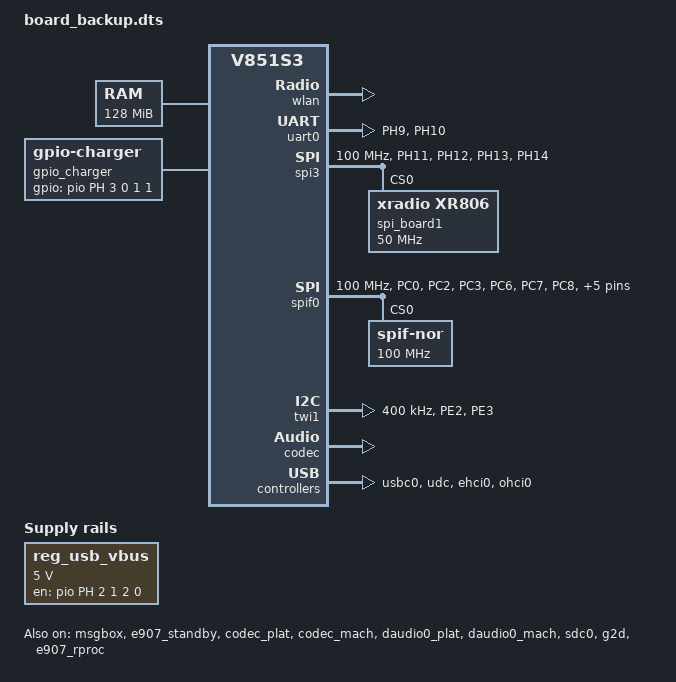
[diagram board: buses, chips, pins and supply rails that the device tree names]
/*
 * Allwinner Technology CO., Ltd. sun8iw21p1 soc board.
 *
 * soc board support.
 */

/dts-v1/;

#include "sun8iw21p1.dtsi"
#include <dt-bindings/sunxi/sun8iw21-share-irq.h>

/{
	compatible = "allwinner,sun8iw21p1", "arm,sun8iw21p1", "allwinner,v851s3";
	reg_usb_vbus: usb-vbus {
		compatible = "regulator-fixed";
		gpio = <&pio PH 2 1 2 0 1>;
		regulator-name = "usb-vbus";
		regulator-min-microvolt = <5000000>;
		regulator-max-microvolt = <5000000>;
		enable-active-high;
	};

	chosen {
		bootargs = "earlyprintk=sunxi-uart,0x02500000 clk_ignore_unused initcall_debug=0 console=ttyS0,115200 loglevel=1 lpj=240000 root=/dev/mtdblock4 rootwait init=/files/pseudo_init rdinit=/rdinit partitions=env@mtdblock1:env-redund@mtdblock2:boot@mtdblock3:rootfs@mtdblock4:extend@mtdblock5:rootfs_data@mtdblock6:UDISK@mtdblock7 coherent_pool=16K androidboot.hardware=sun8iw21p1 boot_type=3 androidboot.boot_type=3 gpt=1 mbr_offset=2080768 bootreason=unknow";

		/* for AI-ISP model */
		/* bootargs = "earlyprintk=sunxi-uart,0x02500000 clk_ignore_unused initcall_debug=0 console=ttyS0,115200 loglevel=1 lpj=240000 root=/dev/mtdblock4 rootwait init=/files/pseudo_init rdinit=/rdinit partitions=env@mtdblock1:env-redund@mtdblock2:boot@mtdblock3:rootfs@mtdblock4:extend@mtdblock5:rootfs_data@mtdblock6:aiisp_model@mtdblock7:aiisp_lut_model@mtdblock8:npu_pdet_model@mtdblock9:UDISK@mtdblock10 coherent_pool=16K androidboot.hardware=sun8iw21p1 boot_type=3 androidboot.boot_type=3 gpt=1 mbr_offset=2080768 bootreason=unknow"; */
	};

	aliases {
		/* pmu0 = &pmu0; */
		/* standby_param = &standby_param; */
	};

	reserved-memory {

		npu_reserved: npu_reserved {
			reg = <0x0 0x41100000 0x0 0x00800000>;
		};

		ai_reserved: ai_reserved {
			reg = <0x0 0x42000000 0x0 0x00850000>;
		};

		e907_fw: e907_fw {
			reg = <0x0 0x43080000 0x0 0x00180000>;
		};

		isp_reserved: isp_reserved {
			reg = <0x0 0x43200000 0x0 0x00a00000>;
		};

		e907_dram: riscv_memserve {
			reg = <0x0 0x43c00000 0x0 0x00400000>;
			no-map;
		};

		/*
		 * The name should be "vdev%dbuffer".
		 * Its size should be not less than
		 *     RPMSG_BUF_SIZE * (num of buffers in a vring) * 2
		 *   = 512 * (num of buffers in a vring) * 2
		 */
		vdev0buffer: vdev0buffer@0x43000000 {
			/* 256k reserved for shared mem pool */
			compatible = "shared-dma-pool";
			reg = <0x0 0x43000000 0x0 0x40000>;
			no-map;
		};

		/*
		 * The name should be "vdev%dvring%d".
		 * The size of each should be not less than
		 *     PAGE_ALIGN(vring_size(num, align))
		 *   = PAGE_ALIGN(PAGE_ALIGN(16 * num + 6 + 2 * num) + 6 + 8 * num)
		 * if size == 8K,  the size should be not large than 227
		 * if size == 12K, the size should be not large than 454
		 * if size == 16K, the size should be not large than 454
		 * if size == 20K, the size should be not large than 682
		 *
		 * (Please refer to the vring layout in include/uapi/linux/virtio_ring.h)
		 */
		vdev0vring0: vdev0vring0@0x43040000 {
			reg = <0x0 0x43040000 0x0 0x5000>;
			no-map;
		};

		vdev0vring1: vdev0vring1@0x43045000 {
			reg = <0x0 0x43045000 0x0 0x5000>;
			no-map;
		};

		rv_share_irq_table: share_irq_table@0 {
			reg = <0x0 0x4304A000 0x0 0x1000>;
			no-map;
		};

		/*
		 * if iommu is enabled in boot0, the pgtable memory need to be reserved
		 *
		 * l1 table 16K, need 16K align
		 * l2 table size = map size / 1K
		 * map 0x41000000 - 0x44000000 for e907
		 */
		iommu_l1_pagetable: iommu_l1_pagetable@0 {
			reg = <0x0 0x4304C000 0x0 0x10000>;
		};

		boot_param: boot_param@0x42FFF000 {
			reg = <0x0 0x42FFF000 0x0 0x1000>;
		};
	};

	reserved-irq {
		share-e907 {
			arch-name = "e907";
			memory-region = <&rv_share_irq_table>;
			/*
			 * each bit corresponds to a GPIO pin, and the corresponding bit=1
			 * indicates that the GPIO pin is assigned to the remote processor.
			 *
			 * WARNING: it is recommended to allocate in units of banks, not pins,
			 * sp as not to affect system stability.
			 */
			share-irq =  <SH_GPIOA_IRQ SH_GPIOA 0x00000000>,
						 <SH_GPIOC_IRQ SH_GPIOC 0x00000000>,
						 <SH_GPIOD_IRQ SH_GPIOD 0x00000000>,
						 <SH_GPIOE_IRQ SH_GPIOE 0x00000000>,
						 <SH_GPIOF_IRQ SH_GPIOF 0x00000000>,
						 <SH_GPIOG_IRQ SH_GPIOG 0x00000000>,
						 <SH_GPIOH_IRQ SH_GPIOH 0x00000000>,
						 <SH_GPIOI_IRQ SH_GPIOI 0x00000000>;
		};
	};

	rpbuf_controller0: rpbuf_controller@0 {
		compatible = "allwinner,rpbuf-controller";
		remoteproc = <&e907_rproc>;
		ctrl_id = <0>;
		/*
		 * if iommu is enabled in boot0, the 'iommus' need to be configured
		 */
		iommus = <&mmu_aw 5 1>;
		status = "okay";
	};

	memory@40000000 {
		device_type = "memory";
		reg = <0x00000000 0x40000000 0x00000000 0x08000000>;
	};

	reserved-memory {
		#address-cells = <2>;
		#size-cells = <2>;
		ranges;

		optee_reserve {
			reg = <0 0 0 0>;
			status = "disabled";
		};

	};

	soc@03000000 {

		wlan: wlan@0 {
			compatible = "xradio,wlan";
			wlan_data_rd = <&pio PD 21 0 0x1 0x2 0>;
			wlan_data_irq =<&pio PD 20 0x14 0x0 0x2 0>;
	        status = "okay";
		    linux,phandle = <0x00000120>;
	        phandle = <0x00000120>;
		};

		rt-media@01c0e000 {
			sensor_0_venc: sensor_0_venc@0 {
				status = "okay";
				s0vencfg0: s0vencfg0@0 {
					status = "okay";
					ch_id = <0>;//vipp_num
					codec_type = <0>;//0//0:H264; 1:JPG; 2:H265
					res_w = <1920>;
					res_h = <1080>;
					fps = <10>;
					bit_rate = <1536>;//kb
					gop = <40>;
					enable_sharp = <1>;
					product_mode = <0>;//0:static ipc, 1:moving ipc, 2: doorbell, 3:cdr, 4:sdv, 5:projection, 6:UAV(Unmanned Aerial Vehicle)
					vbr = <1>;//< operate venc. VBR=1, CBR=0
					init_qp = <35>;
					i_min_qp = <25>;
					i_max_qp = <45>;
					p_min_qp = <25>;
					p_max_qp = <45>;
					enable_mb_qp_limit = <1>;
					moving_th = <20>;
					quality = <1>;
					i_frm_bits_coef = <10>;
					p_frm_bits_coef = <10>;
					out_mode = <0>;//0: stream; 1: yuv; 2: file_yuv; 3: outside_yuv
					pix_fmt = <12>;//12: RT_PIXEL_LBC_25X; 0: RT_PIXEL_YUV420SP, other ref RT_PIXELFORMAT_TYPE
					reduce_refrec_mem = <0>;//Can save memory space
					aiisp_en = <0>;
					tdm_rxbuf_cnt = <0>;
				};
			};

			sensor_1_venc: sensor_1_venc@1 {
				status = "disabled";
				s1vencfg0: s1vencfg0@0 {
					status = "disabled";
					ch_id = <1>;//vipp_num
					codec_type = <0>;//0//0:H264; 1:JPG; 2:H265
					res_w = <1920>;
					res_h = <1080>;
					fps = <15>;
					bit_rate = <1536>;//kb
					gop = <40>;
					enable_sharp = <1>;
					product_mode = <0>;//0:static ipc, 1:moving ipc, 2: doorbell, 3:cdr, 4:sdv, 5:projection, 6:UAV(Unmanned Aerial Vehicle)
					vbr = <1>;//< operate venc. VBR=1, CBR=0
					init_qp = <35>;
					i_min_qp = <25>;
					i_max_qp = <45>;
					p_min_qp = <25>;
					p_max_qp = <45>;
					enable_mb_qp_limit = <1>;
					moving_th = <20>;
					quality = <1>;
					i_frm_bits_coef = <10>;
					p_frm_bits_coef = <10>;
					out_mode = <0>;//0: stream; 1: yuv; 2: file_yuv; 3: outside_yuv
					pix_fmt = <12>;//12: RT_PIXEL_LBC_25X; 0: RT_PIXEL_YUV420SP, other ref RT_PIXELFORMAT_TYPE
					reduce_refrec_mem = <0>;//Can save memory space
					aiisp_en = <0>;
					tdm_rxbuf_cnt = <0>;
				};
			};

			sensor_2_venc: sensor_2_venc@2 {
				status = "disabled";
				s2vencfg0: s2vencfg0@0 {
					status = "disabled";
					ch_id = <2>;//vipp_num
					codec_type = <0>;//0//0:H264; 1:JPG; 2:H265
					res_w = <1920>;
					res_h = <1080>;
					fps = <15>;
					bit_rate = <1536>;//kb
					gop = <40>;
					enable_sharp = <1>;
					product_mode = <0>;//0:static ipc, 1:moving ipc, 2: doorbell, 3:cdr, 4:sdv, 5:projection, 6:UAV(Unmanned Aerial Vehicle)
					vbr = <1>;//< operate venc. VBR=1, CBR=0
					init_qp = <35>;
					i_min_qp = <25>;
					i_max_qp = <45>;
					p_min_qp = <25>;
					p_max_qp = <45>;
					enable_mb_qp_limit = <1>;
					moving_th = <20>;
					quality = <1>;
					i_frm_bits_coef = <10>;
					p_frm_bits_coef = <10>;
					out_mode = <0>;//0: stream; 1: yuv; 2: file_yuv; 3: outside_yuv
					pix_fmt = <12>;//12: RT_PIXEL_LBC_25X; 0: RT_PIXEL_YUV420SP, other ref RT_PIXELFORMAT_TYPE
					reduce_refrec_mem = <0>;//Can save memory space
					aiisp_en = <0>;
					tdm_rxbuf_cnt = <0>;
				};
			};
		};

		vind0:vind@0 {
			vind0_clk = <300000000>;
			status = "okay";

			csi2:csi@2 {
				pinctrl-names = "default","sleep";
				pinctrl-0 = <&ncsi_pins_a>;
				pinctrl-1 = <&ncsi_pins_b>;
				status = "disabled";
			};

			tdm0:tdm@0 {
				iommus = <&mmu_aw 4 0>;
				work_mode = <1>;
			};

			isp00:isp@0 {
				work_mode = <1>;
				rpbuf = <&rpbuf_controller0>;
				iommus = <&mmu_aw 4 0>;
				isp-region = <&isp_reserved>;
				delay_init = <1>;
			};

			isp01:isp@1 {
				status = "disabled";
			};

			isp02:isp@2 {
				status = "disabled";
			};

			isp03:isp@3 {
				status = "disabled";
			};

			isp10:isp@4 {
				status = "disabled";
				iommus = <&mmu_aw 1 0>;
			};

			scaler00:scaler@0 {
				work_mode = <1>;
				iommus = <&mmu_aw 1 0>;
				delay_init = <1>;
			};

			scaler01:scaler@1 {
				status = "disabled";
			};

			scaler02:scaler@2 {
				status = "disabled";
			};

			scaler03:scaler@3 {
				status = "disabled";
			};

			scaler10:scaler@4 {
				work_mode = <1>;
				iommus = <&mmu_aw 1 0>;
				delay_init = <1>;
			};

			scaler11:scaler@5 {
				status = "disabled";
			};

			scaler12:scaler@6 {
				status = "disabled";
			};

			scaler13:scaler@7 {
				status = "disabled";
			};

			scaler20:scaler@8 {
				work_mode = <1>;
				iommus = <&mmu_aw 1 0>;
				delay_init = <1>;
			};

			scaler21:scaler@9 {
				status = "disabled";
			};

			scaler22:scaler@10 {
				status = "disabled";
			};

			scaler23:scaler@11 {
				status = "disabled";
			};

			scaler30:scaler@12 {
				work_mode = <1>;
				iommus = <&mmu_aw 1 0>;
				delay_init = <1>;
			};

			scaler31:scaler@13 {
				status = "disabled";
			};

			scaler32:scaler@14 {
				status = "disabled";
			};

			scaler33:scaler@15 {
				status = "disabled";
			};

			actuator0:actuator@0 {
				device_type = "actuator0";
				actuator0_name = "ad5820_act";
				actuator0_slave = <0x18>;
				actuator0_af_pwdn = <>;
				actuator0_afvdd = "afvcc-csi";
				actuator0_afvdd_vol = <2800000>;
				status = "disabled";
			};

			flash0:flash@0 {
				device_type = "flash0";
				flash0_type = <2>;
				flash0_en = <>;
				flash0_mode = <>;
				flash0_flvdd = "";
				flash0_flvdd_vol = <>;
				status = "disabled";
			};

			sensor0:sensor@0 {
				device_type = "sensor0";
				sensor0_mname = "gc2053_mipi";
				sensor0_twi_cci_id = <1>;
				sensor0_twi_addr = <0x6e>;
				sensor0_mclk_id = <0>;
				sensor0_pos = "rear";
				sensor0_isp_used = <1>;
				sensor0_fmt = <1>;
				sensor0_stby_mode = <0>;
				sensor0_vflip = <0>;
				sensor0_hflip = <0>;
				/* sensor0_iovdd-supply = <&reg_aldo2>; */
				/* sensor0_iovdd_vol = <1800000>; */
				/* sensor0_avdd-supply = <&reg_bldo2>; */
				/* sensor0_avdd_vol = <2800000>; */
				/* sensor0_dvdd-supply = <&reg_dldo2>; */
				/* sensor0_dvdd_vol = <1200000>; */
				/* sensor0_power_en = <>; */
				sensor0_reset = <&pio PE 6 1 0 1 0>;
				sensor0_pwdn = <&pio PE 7 1 0 1 0>;
				/*sensor0_sm_hs = <&pio PD 18 1 0 1 0>;*/
				/*sensor0_sm_vs = <&pio PD 8 1 0 1 0>;*/
				sensor0_power_en = <>;
				flash_handle = <&flash0>;
				act_handle = <&actuator0>;
				status	= "okay";
			};

			sensor1:sensor@1 {
				device_type = "sensor1";
				sensor1_mname = "imx386_mipi_2";
				sensor1_twi_cci_id = <0>;
				sensor1_twi_addr = <0x20>;
				sensor1_mclk_id = <1>;
				sensor1_pos = "front";
				sensor1_isp_used = <1>;
				sensor1_fmt = <1>;
				sensor1_stby_mode = <0>;
				sensor1_vflip = <0>;
				sensor1_hflip = <0>;
				/* sensor1_iovdd-supply = <&reg_aldo2>; */
				/* sensor1_iovdd_vol = <1800000>; */
				/* sensor1_avdd-supply = <&reg_bldo2>; */
				/* sensor1_avdd_vol = <2800000>; */
				/* sensor1_dvdd-supply = <&reg_dldo2>; */
				/* sensor1_dvdd_vol = <1200000>; */
				/* sensor1_power_en = <>; */
				sensor1_reset = <&pio PA 20 1 0 1 0>;
				sensor1_pwdn = <&pio PA 21 1 0 1 0>;
				sensor1_sm_hs = <>;
				sensor1_sm_vs = <>;
				flash_handle = <>;
				act_handle = <>;
				status	= "disabled";
			};

			vinc00:vinc@0 {
				vinc0_csi_sel = <0>;
				vinc0_mipi_sel = <0>;
				vinc0_isp_sel = <0>;
				vinc0_isp_tx_ch = <0>;
				vinc0_tdm_rx_sel = <0>;
				vinc0_rear_sensor_sel = <0>;
				vinc0_front_sensor_sel = <0>;
				vinc0_sensor_list = <0>;
				work_mode = <0x1>;
				iommus = <&mmu_aw 1 0>;
				delay_init = <1>;
				status = "okay";
			};

			vinc01:vinc@1 {
				vinc1_csi_sel = <2>;
				vinc1_mipi_sel = <0xff>;
				vinc1_isp_sel = <1>;
				vinc1_isp_tx_ch = <1>;
				vinc1_tdm_rx_sel = <1>;
				vinc1_rear_sensor_sel = <0>;
				vinc1_front_sensor_sel = <0>;
				vinc1_sensor_list = <0>;
				status = "disabled";
			};

			vinc02:vinc@2 {
				vinc2_csi_sel = <2>;
				vinc2_mipi_sel = <0xff>;
				vinc2_isp_sel = <2>;
				vinc2_isp_tx_ch = <2>;
				vinc2_tdm_rx_sel = <2>;
				vinc2_rear_sensor_sel = <0>;
				vinc2_front_sensor_sel = <0>;
				vinc2_sensor_list = <0>;
				status = "disabled";
			};

			vinc03:vinc@3 {
				vinc3_csi_sel = <0>;
				vinc3_mipi_sel = <0xff>;
				vinc3_isp_sel = <0>;
				vinc3_isp_tx_ch = <0>;
				vinc3_tdm_rx_sel = <0>;
				vinc3_rear_sensor_sel = <1>;
				vinc3_front_sensor_sel = <1>;
				vinc3_sensor_list = <0>;
				status = "disabled";
			};

			vinc10:vinc@4 {
				vinc4_csi_sel = <0>;
				vinc4_mipi_sel = <0>;
				vinc4_isp_sel = <0>;
				vinc4_isp_tx_ch = <0>;
				vinc4_tdm_rx_sel = <0>;
				vinc4_rear_sensor_sel = <0>;
				vinc4_front_sensor_sel = <0>;
				vinc4_sensor_list = <0>;
				work_mode = <0x1>;
				iommus = <&mmu_aw 1 0>;
				delay_init = <1>;
				status = "okay";
			};

			vinc11:vinc@5 {
				vinc5_csi_sel = <2>;
				vinc5_mipi_sel = <0xff>;
				vinc5_isp_sel = <1>;
				vinc5_isp_tx_ch = <1>;
				vinc5_tdm_rx_sel = <1>;
				vinc5_rear_sensor_sel = <0>;
				vinc5_front_sensor_sel = <0>;
				vinc5_sensor_list = <0>;
				status = "disabled";
			};

			vinc12:vinc@6 {
				vinc6_csi_sel = <2>;
				vinc6_mipi_sel = <0xff>;
				vinc6_isp_sel = <0>;
				vinc6_isp_tx_ch = <0>;
				vinc6_tdm_rx_sel = <0>;
				vinc6_rear_sensor_sel = <0>;
				vinc6_front_sensor_sel = <0>;
				vinc6_sensor_list = <0>;
				status = "disabled";
			};

			vinc13:vinc@7 {
				vinc7_csi_sel = <2>;
				vinc7_mipi_sel = <0xff>;
				vinc7_isp_sel = <0>;
				vinc7_isp_tx_ch = <0>;
				vinc7_tdm_rx_sel = <0>;
				vinc7_rear_sensor_sel = <0>;
				vinc7_front_sensor_sel = <0>;
				vinc7_sensor_list = <0>;
				status = "disabled";
			};

			vinc20:vinc@8 {
				vinc8_csi_sel = <0>;
				vinc8_mipi_sel = <0x0>;
				vinc8_isp_sel = <0>;
				vinc8_isp_tx_ch = <0>;
				vinc8_tdm_rx_sel = <0>;
				vinc8_rear_sensor_sel = <0>;
				vinc8_front_sensor_sel = <0>;
				vinc8_sensor_list = <0>;
				work_mode = <0x1>;
				iommus = <&mmu_aw 1 0>;
				delay_init = <1>;
				status = "okay";
			};

			vinc21:vinc@9 {
				vinc9_csi_sel = <2>;
				vinc9_mipi_sel = <0xff>;
				vinc9_isp_sel = <0>;
				vinc9_isp_tx_ch = <0>;
				vinc9_tdm_rx_sel = <0>;
				vinc9_rear_sensor_sel = <0>;
				vinc9_front_sensor_sel = <0>;
				vinc9_sensor_list = <0>;
				status = "disabled";
			};

			vinc22:vinc@10 {
				vinc10_csi_sel = <2>;
				vinc10_mipi_sel = <0xff>;
				vinc10_isp_sel = <0>;
				vinc10_isp_tx_ch = <0>;
				vinc10_tdm_rx_sel = <0>;
				vinc10_rear_sensor_sel = <0>;
				vinc10_front_sensor_sel = <0>;
				vinc10_sensor_list = <0>;
				status = "disabled";
			};

			vinc23:vinc@11 {
				vinc11_csi_sel = <2>;
				vinc11_mipi_sel = <0xff>;
				vinc11_isp_sel = <0>;
				vinc11_isp_tx_ch = <0>;
				vinc11_tdm_rx_sel = <0>;
				vinc11_rear_sensor_sel = <0>;
				vinc11_front_sensor_sel = <0>;
				vinc11_sensor_list = <0>;
				status = "disabled";
			};

			vinc30:vinc@12 {
				vinc12_csi_sel = <0>;
				vinc12_mipi_sel = <0x0>;
				vinc12_isp_sel = <0>;
				vinc12_isp_tx_ch = <0>;
				vinc12_tdm_rx_sel = <0>;
				vinc12_rear_sensor_sel = <0>;
				vinc12_front_sensor_sel = <0>;
				vinc12_sensor_list = <0>;
				work_mode = <0x1>;
				iommus = <&mmu_aw 1 0>;
				delay_init = <1>;
				status = "okay";
			};

			vinc31:vinc@13 {
				vinc13_csi_sel = <2>;
				vinc13_mipi_sel = <0xff>;
				vinc13_isp_sel = <0>;
				vinc13_isp_tx_ch = <0>;
				vinc13_tdm_rx_sel = <0>;
				vinc13_rear_sensor_sel = <0>;
				vinc13_front_sensor_sel = <0>;
				vinc13_sensor_list = <0>;
				status = "disabled";
			};

			vinc32:vinc@14 {
				vinc14_csi_sel = <2>;
				vinc14_mipi_sel = <0xff>;
				vinc14_isp_sel = <0>;
				vinc14_isp_tx_ch = <0>;
				vinc14_tdm_rx_sel = <0>;
				vinc14_rear_sensor_sel = <0>;
				vinc14_front_sensor_sel = <0>;
				vinc14_sensor_list = <0>;
				status = "disabled";
			};

			vinc33:vinc@15 {
				vinc15_csi_sel = <2>;
				vinc15_mipi_sel = <0xff>;
				vinc15_isp_sel = <0>;
				vinc15_isp_tx_ch = <0>;
				vinc15_tdm_rx_sel = <0>;
				vinc15_rear_sensor_sel = <0>;
				vinc15_front_sensor_sel = <0>;
				vinc15_sensor_list = <0>;
				status = "disabled";
			};
		};
		gpio_charger: gpio_charger@0 {
			compatible = "gpio-charger";
			gpios = <&pio PH 3 0 1 1 1>;
			charger-type = "usb-sdp";
			status = "okay";
		};
		gpio_sw@0x02000000 {
			compatible = "allwinner,sunxi-init-gpio";
			reg = <0x0 0x02000000 0x0 0x370>;
			gpio_num = <1>;
			gpio_pin_1 = <&pio PE 0 0x1 0x1 0x1 0x1>;
		};
	};

};

&cpu0 {
	vf_tbl_sel = <0>;
};

&npu {
	clock-frequency = <600000000>;/*0.93V 348M; 0.96V 348M*/
};

&uart0 {
	pinctrl-names = "default", "sleep";
	pinctrl-0 = <&uart0_pins_active>;
	pinctrl-1 = <&uart0_pins_sleep>;
	/* uart-supply = <&reg_dcdc1>; */
	status = "okay";
};

&uart1 {
	pinctrl-names = "default", "sleep";
	pinctrl-0 = <&uart1_pins_active>;
	pinctrl-1 = <&uart1_pins_sleep>;
	/* uart-supply = <&reg_dcdc1>; */
	status = "disabled";
};

&uart2 {
	pinctrl-names = "default", "sleep";
	pinctrl-0 = <&uart2_pins_active>;
	pinctrl-1 = <&uart2_pins_sleep>;
	/* uart-supply = <&reg_dcdc1>; */
	status = "disabled";
};

&uart3 {
	pinctrl-names = "default", "sleep";
	pinctrl-0 = <&uart3_pins_active>;
	pinctrl-1 = <&uart3_pins_sleep>;
	/* uart-supply = <&reg_dcdc1>; */
	status = "disabled";
};


&pinctrl_test {
	status = "disabled";
};

&pio {
	wlan_pins_a: wlan@0 {
		allwinner,pins = "PG6";
		allwinner,function = "clk";
		allwinner,muxsel = <3>;
	};

	uart0_pins_active: uart0@0 {
		allwinner,pins = "PH9", "PH10";
		allwinner,function = "uart0";
		allwinner,muxsel = <5>;
		allwinner,drive = <1>;
		allwinner,pull = <1>;
	};

	uart0_pins_sleep: uart0@1 {
		allwinner,pins = "PH9", "PH10";
		allwinner,function = "gpio_in";
		allwinner,muxsel = <0>;
	};

	uart1_pins_active: uart1@0 {
		allwinner,pins = "PG6", "PG7";
		allwinner,function = "uart1";
		allwinner,muxsel = <4>;
		allwinner,drive = <1>;
		allwinner,pull = <1>;
	};

	uart1_pins_sleep: uart1@1 {
		allwinner,pins = "PG6", "PG7";
		allwinner,function = "gpio_in";
		allwinner,muxsel = <0>;
	};

	uart2_pins_active: uart2@0 {
		allwinner,pins = "PE12", "PE13", "PE10", "PE11";
		allwinner,function = "uart2";
		allwinner,muxsel = <6>;
		allwinner,drive = <1>;
		allwinner,pull = <1>;
	};

	uart2_pins_sleep: uart2@1 {
		allwinner,pins = "PE12", "PE13", "PE10", "PE11";
		allwinner,function = "gpio_in";
		allwinner,muxsel = <0>;
	};

	uart3_pins_active: uart3@0 {
		allwinner,pins = "PH0", "PH1";
		allwinner,function = "uart3";
		allwinner,muxsel = <5>;
		allwinner,drive = <1>;
		allwinner,pull = <1>;
	};

	uart3_pins_sleep: uart3@1 {
		allwinner,pins = "PH0", "PH1";
		allwinner,function = "gpio_in";
		allwinner,muxsel = <0>;
	};

	spi0_pins_a: spi0@0 {
		allwinner,pins = "PC0", "PC2", "PC3";
		allwinner,pname = "spi0_sclk", "spi0_mosi", "spi0_miso";
		allwinner,function = "spi0";
		allwinner,muxsel = <4>;
		allwinner,drive = <1>;
		allwinner,pull = <0>;
	};

	spi0_pins_b: spi0@1 {
		allwinner,pins = "PC1", "PC5", "PC4";
		allwinner,pname = "spi0_cs0", "spi0_hold", "spi0_wp";
		allwinner,function = "spi0";
		allwinner,muxsel = <4>;
		allwinner,drive = <1>;
		allwinner,pull = <1>;   // only CS should be pulled up
	};

	spi0_pins_c: spi0@2 {
		allwinner,pins = "PC0", "PC1", "PC2", "PC3", "PC4", "PC5";
		allwinner,function = "io_disabled";
		allwinner,muxsel = <0xf>;
		allwinner,drive = <1>;
		allwinner,pull = <0>;
	};

	spi1_pins_a: spi1@0 {
		allwinner,pins = "PF31", "PF24", "PF29",
					 "PF26", "PF30";
		allwinner,pname = "spi0_sclk", "spi0_mosi",
					 "spi0_miso", "spi0_hold", "spi0_wp";
		allwinner,function = "spi0";
		allwinner,muxsel = <5>;
		allwinner,drive = <1>;
		allwinner,pull = <0>;
	};

	spi1_pins_b: spi1@1 {
		allwinner,pins = "PF25";
		allwinner,pname = "spi0_cs0";
		allwinner,function = "spi0";
		allwinner,muxsel = <5>;
		allwinner,drive = <1>;
		allwinner,pull = <1>;   // only CS should be pulled up
	};

	spi1_pins_c: spi1@2 {
		allwinner,pins = "PF24", "PF25", "PF26", "PF29", "PF30", "PF31";
		allwinner,function = "io_disabled";
		allwinner,muxsel = <0xf>;
		allwinner,drive = <1>;
		allwinner,pull = <0>;
	};
	spi3_pins_a: spi3@0 {
		allwinner,pins = "PH11", "PH12", "PH13";
		allwinner,pname = "spi3_sclk", "spi3_mosi",
					 "spi3_miso";
		allwinner,function = "spi3";
		allwinner,muxsel = <6>;
		allwinner,drive = <1>;
		allwinner,pull = <0>;
	};

	spi3_pins_b: spi3@1 {
		allwinner,pins = "PH14";
		allwinner,pname = "spi3_cs0";
		allwinner,function = "spi3";
		allwinner,muxsel = <6>;
		allwinner,drive = <1>;
		allwinner,pull = <1>;
	};

	spi3_pins_c: spi3@2 {
		allwinner,pins = "PH11", "PH12", "PH13",
					 "PH14";
		allwinner,function = "io_disabled";
		allwinner,muxsel = <0xf>;
		allwinner,drive = <1>;
		allwinner,pull = <0>;
	};

	spif_pins_a: spif0@0 {
		allwinner,pins = "PC0", "PC2", "PC3",
				"PC6", "PC7", "PC8",
				"PC9", "PC10";
		allwinner,pname = "spif_clk", "spif_mosi", "spif_miso",
				"spif_io4", "spif_io5", "spif_io6",
				"spif_io7", "spif_io8";
		allwinner,function = "spif";
		allwinner,muxsel = <2>;
		allwinner,drive = <1>;
		allwinner,pull = <0>;
	};

	spif_pins_b: spif@1 {
		allwinner,pins = "PC1", "PC4", "PC5";
		allwinner,pname = "spif_cs0", "spif_wp", "spif_hold";
		allwinner,function = "spif";
		allwinner,muxsel = <2>;
		allwinner,drive = <1>;
		allwinner,pull = <1>;   // only CS should be pulled up
	};

	spif_pins_c: spif@2 {
		allwinner,pins = "PC0", "PC1", "PC2", "PC3", "PC4",
				"PC5", "PC6", "PC7", "PC8", "PC9", "PC10";
		allwinner,function = "gpio_in";
		allwinner,muxsel = <0xf>;
		allwinner,drive = <1>;
		allwinner,pull = <0>;
	};

	mipib_pins_a: mipib@0 {
		allwinner,pins = "PA8",	 "PA9", "PA10", "PA11";
		allwinner,pname = "mipib_d1n", "mipib_d1p", "mipib_ck0n", "mipib_ck0p";
		allwinner,function = "mipib_rx";
		allwinner,muxsel = <2>;
		allwinner,drive = <1>;
		allwinner,pull = <0>;
	};

	mipib_pins_b: mipib@1 {
		allwinner,pins = "PA8",	 "PA9", "PA10", "PA11";
		allwinner,pname = "mipib_d1n", "mipib_d1p", "mipib_ck0n", "mipib_ck0p";
		allwinner,function = "io_disabled";
		allwinner,muxsel = <0xf>;
		allwinner,drive = <1>;
		allwinner,pull = <0>;
	};

	mipib_4lane_pins_a: mipib_4lane@0 {
		allwinner,pins = "PA8",  "PA9";
		allwinner,pname = "mipib_d1n", "mipib_d1p";
		allwinner,function = "mipib_rx";
		allwinner,muxsel = <2>;
		allwinner,drive = <1>;
		allwinner,pull = <0>;
	};

	mipib_4lane_pins_b: mipib_4lane@1 {
		allwinner,pins = "PA8",  "PA9";
		allwinner,pname = "mipib_d1n", "mipib_d1p";
		allwinner,function = "io_disabled";
		allwinner,muxsel = <0xf>;
		allwinner,drive = <1>;
		allwinner,pull = <0>;
	};

	twi0_pins_a: twi0@0 {
		allwinner,pins = "PA16", "PA17";
		allwinner,pname = "twi0_scl", "twi0_sda";
		allwinner,function = "twi0";
		allwinner,muxsel = <4>;
		allwinner,drive = <0>;
		allwinner,pull = <1>;
	};

	twi0_pins_b: twi0@1 {
		allwinner,pins = "PA16", "PA17";
		allwinner,function = "io_disabled";
		allwinner,muxsel = <0xf>;
		allwinner,drive = <0>;
		allwinner,pull = <0>;
	};

	twi1_pins_a: twi1@0 {
		allwinner,pins = "PE2", "PE3";
		allwinner,pname = "twi1_scl", "twi1_sda";
		allwinner,function = "twi1";
		allwinner,muxsel = <8>;
		allwinner,drive = <0>;
		allwinner,pull = <1>;
	};

	twi1_pins_b: twi1@1 {
		allwinner,pins = "PE2", "PE3";
		allwinner,function = "io_disabled";
		allwinner,muxsel = <0xf>;
		allwinner,drive = <0>;
		allwinner,pull = <0>;
	};

	twi2_pins_a: twi2@0 {
		allwinner,pins = "PH5", "PH6";
		allwinner,pname = "twi2_scl", "twi2_sda";
		allwinner,function = "twi2";
		allwinner,muxsel = <4>;
		allwinner,drive = <0>;
		allwinner,pull = <1>;
	};

	twi2_pins_b: twi2@1 {
		allwinner,pins = "PH5", "PH6";
		allwinner,function = "io_disabled";
		allwinner,muxsel = <0xf>;
		allwinner,drive = <0>;
		allwinner,pull = <0>;
	};

	twi3_pins_a: twi3@0 {
		allwinner,pins = "PI3", "PI4";
		allwinner,pname = "twi3_scl", "twi3_sda";
		allwinner,function = "twi3";
		allwinner,muxsel = <6>;
		allwinner,drive = <0>;
		allwinner,pull = <1>;
	};

	twi3_pins_b: twi3@1 {
		allwinner,pins = "PI3", "PI4";
		allwinner,function = "io_disabled";
		allwinner,muxsel = <0xf>;
		allwinner,drive = <0>;
		allwinner,pull = <0>;
	};

	twi4_pins_a: twi4@0 {
		allwinner,pins = "PI1", "PI2";
		allwinner,pname = "twi4_scl", "twi4_sda";
		allwinner,function = "twi4";
		allwinner,muxsel = <6>;
		allwinner,drive = <0>;
		allwinner,pull = <1>;
	};

	twi4_pins_b: twi4@1 {
		allwinner,pins = "PI1", "PI2";
		allwinner,function = "io_disabled";
		allwinner,muxsel = <0xf>;
		allwinner,drive = <0>;
		allwinner,pull = <0>;
	};

	dmic_pins_a: dmic@0 {
		allwinner,pins = "PH0", "PH1", "PH2", "PH3", "PH4";
		allwinner,function = "dmic";
		allwinner,muxsel = <6>;
		allwinner,drive = <1>;
		allwinner,pull = <0>;
	};

	dmic_pins_b: dmic_sleep@0 {
		allwinner,pins = "PH0", "PH1", "PH2", "PH3", "PH4";
		allwinner,function = "io_disabled";
		allwinner,muxsel = <0xf>;
		allwinner,drive = <1>;
		allwinner,pull = <0>;
	};

	daudio0_pins_a: daudio0@0 {
		allwinner,pins = "PH0", "PH1", "PH2", "PH3", "PH4";
		allwinner,function = "i2s0";
		allwinner,muxsel = <3>;
		allwinner,drive = <1>;
		allwinner,pull = <0>;
	};

	daudio0_pins_b: daudio0_sleep@0 {
		allwinner,pins = "PH0", "PH1", "PH2", "PH3", "PH4";
		allwinner,function = "io_disabled";
		allwinner,muxsel = <0xf>;
		allwinner,drive = <1>;
		allwinner,pull = <0>;
	};

	daudio1_pins_a: daudio1@0 {
		allwinner,pins = "PE7", "PE8", "PE9", "PE10", "PE11";
		allwinner,function = "i2s1";
		allwinner,muxsel = <7>;
		allwinner,drive = <1>;
		allwinner,pull = <0>;
	};

	daudio1_pins_b: daudio1_sleep@0 {
		allwinner,pins = "PE7", "PE8", "PE9", "PE10", "PE11";
		allwinner,function = "io_disabled";
		allwinner,muxsel = <0xf>;
		allwinner,drive = <1>;
		allwinner,pull = <0>;
	};

	pwm4_pin_a: pwm4@0 {
		pins = "PH11";
		function = "pwm4";
		muxsel = <8>;
		drive-strength = <10>;
		bias-pull-up;
	};

	pwm4_pin_b: pwm4@1 {
		pins = "PH11";
		function = "gpio_in";
		muxsel = <0>;
	};

	pwm6_pin_a: pwm6@0 {
		pins = "PD7";
		function = "pwm6";
		muxsel = <3>;
		drive-strength = <10>;
		bias-pull-up;
	};

	pwm6_pin_b: pwm6@1 {
		pins = "PD7";
		function = "gpio_in";
		muxsel = <0>;
	};

	pwm9_pin_a: pwm9@0 {
		pins = "PD22";
		function = "pwm9";
		muxsel = <2>;
		drive-strength = <10>;
		bias-pull-up;
	};

	pwm9_pin_b: pwm9@1 {
		pins = "PD22";
		function = "gpio_in";
		muxsel = <0>;
	};

	wiegand_pins_a: wiegand@0 {
		pins = "PH13", "PH14";
		function = "wiegand";
		muxsel = <7>;
		drive-strength = <10>;
		bias-pull-up;
	};

	wiegand_pins_b: wiegand@1 {
		pins = "PH13", "PH14";
		function = "io_disabled";
		muxsel = <0xf>;
	};

	gmac0_pins_a: gmac0@0 {
		allwinner,pins = "PE0", "PE1", "PE2", "PE3",
				"PE4", "PE5", "PE6", "PE7",
				"PE8", "PE9", "PE10", "PE11",
				"PE12", "PE13", "PE14", "PE15";
		allwinner,function = "rgmii";
		allwinner,drive = <1>;
		allwinner,muxsel = <3>;
		allwinner,pull = <0>;
	};

	gmac0_pins_b: gmac0@1 {
		allwinner,pins = "PE0", "PE1", "PE2", "PE3",
				"PE4", "PE5", "PE6", "PE7",
				"PE8", "PE9", "PE10", "PE11",
				"PE12", "PE13", "PE14", "PE15";
		allwinner,function = "gpio_in";
		allwinner,drive = <0>;
		allwinner,muxsel = <0>;
		allwinner,pull = <0>;
	};

	csi_mclk0_pins_a: csi_mclk0@0 {
		allwinner,pins = "PE12";
		allwinner,pname = "mipi_csi_mclk0";
		allwinner,function = "mipi_csi_mclk0";
		allwinner,muxsel = <5>;
		allwinner,drive = <2>;
		allwinner,pull = <0>;
	};

	csi_mclk0_pins_b: csi_mclk0@1 {
		allwinner,pins = "PE12";
		allwinner,pname = "mipi_csi_mclk0";
		allwinner,function = "io_disabled";
		allwinner,muxsel = <0xf>;
		allwinner,drive = <2>;
		allwinner,pull = <0>;
	};

	csi_mclk1_pins_a: csi_mclk1@0 {
		allwinner,pins = "PA13";
		allwinner,pname = "mipi_csi_mclk1";
		allwinner,function = "mipi_csi_mclk1";
		allwinner,muxsel = <4>;
		allwinner,drive = <2>;
		allwinner,pull = <0>;
	};

	csi_mclk1_pins_b: csi_mclk1@1 {
		allwinner,pins = "PA13";
		allwinner,pname = "mipi_csi_mclk1";
		allwinner,function = "io_disabled";
		allwinner,muxsel = <0xf>;
		allwinner,drive = <2>;
		allwinner,pull = <0>;
	};

	csi_mclk2_pins_a: csi_mclk2@0 {
		allwinner,pins = "PE1";
		allwinner,pname = "ncsi_mclk";
		allwinner,function = "ncsi_mclk";
		allwinner,muxsel = <2>;
		allwinner,drive = <2>;
		allwinner,pull = <0>;
	};

	csi_mclk2_pins_b: csi_mclk2@1 {
		allwinner,pins = "PE1";
		allwinner,pname = "ncsi_mclk";
		allwinner,function = "io_disabled";
		allwinner,muxsel = <0xf>;
		allwinner,drive = <2>;
		allwinner,pull = <0>;
	};
};

&spi0 {
	clock-frequency = <100000000>;
	pinctrl-0 = <&spi0_pins_a &spi0_pins_b>;
	pinctrl-1 = <&spi0_pins_c>;
	/* spi-supply = <&reg_dcdc3>; */
	pinctrl-names = "default", "sleep";
	spi_slave_mode = <0>;
	spi_dbi_enable = <0>;
	spi0_cs_number = <1>;
	status = "disabled";

	spi_board0 {
		device_type = "spi_board0";
		compatible = "spi-nor";
		spi-max-frequency = <0x05F5E100>;
		m25p,fast-read = <1>;
		/*individual_lock;*/
		reg = <0x0>;
		spi-rx-bus-width=<0x04>;
		spi-tx-bus-width=<0x04>;
		status="disabled";
	};

	spi-nand@0 {
		compatible = "spi-nand";
		spi-max-frequency=<0x05F5E100>;
		reg = <0x0>;
		spi-rx-bus-width=<0x04>;
		spi-tx-bus-width=<0x04>;
		status="disabled";
	};
};

&spi1 {
	clock-frequency = <100000000>;
	pinctrl-0 = <&spi1_pins_a &spi1_pins_b>;
	pinctrl-1 = <&spi1_pins_c>;
	pinctrl-names = "default", "sleep";
	spi_slave_mode = <0>;
	spi_dbi_enable = <1>;
	spi1_cs_number = <1>;
	status = "disabled";

	spi_board1@0 {
		device_type = "spi_dbi";
		compatible = "sunxi,spidbi";
		spi-max-frequency = <0x5f5e100>;
		reg = <0x0>;
		spi-rx-bus-width = <0x4>;
		spi-tx-bus-width = <0x4>;
		status = "disabled";
	};
};

&spi3 {
	clock-frequency = <100000000>;

	pinctrl-0 = <&spi3_pins_a &spi3_pins_b>;
	pinctrl-1 = <&spi3_pins_c>;

	pinctrl-names = "default", "sleep";
	spi_dbi_enable = <0>;
	spi_slave_mode = <0>;
	spi3_cs_number = <1>;
	status = "okay";

	spi_board1 {
	          device_type = "spi_board1";
	          compatible = "xradio,xr806";
	          spi-max-frequency = <50000000>;
	          reg = <0x00000000>;
	          status = "okay";
	  };
};

&spif0 {
	clock-frequency = <100000000>;
	pinctrl-0 = <&spif_pins_a &spif_pins_b>;
	pinctrl-1 = <&spif_pins_c>;
	pinctrl-names = "default", "sleep";
	//prefetch_read_mode_enabled;	/* choose prefect read mode */
	//dtr_mode_enabled;				/* choose double edge trigger mode */
	//dqs_mode_enabled;				/* choose dqs mode(nand provide clk mode) */
	status = "okay";

	spif-nor  {
		device_type = "spi_board0";
		compatible = "spif-nor";
		spi-max-frequency = <0x5f5e100>;
		reg = <0x0>;
		spi-rx-bus-width = <0x4>;
		spi-tx-bus-width = <0x4>;
		status = "okay";
	};
};

&msgbox {
	status = "okay";
};

&e907_standby {
	status = "okay";
};

&twi0 {
	clock-frequency = <400000>;
	pinctrl-0 = <&twi0_pins_a>;
	pinctrl-1 = <&twi0_pins_b>;
	pinctrl-names = "default", "sleep";
	/* For stability and backwards compatibility, we recommend setting ‘twi_drv_used’ to 0  */
	twi_drv_used = <0>;
	/* twi-supply = <&reg_dcdc1>; */
	twi_pkt_interval = <0>;
	status = "disabled";
};

&twi1 {
	clock-frequency = <400000>;
	pinctrl-0 = <&twi1_pins_a>;
	pinctrl-1 = <&twi1_pins_b>;
	pinctrl-names = "default", "sleep";
	/* For stability and backwards compatibility, we recommend setting ‘twi_drv_used’ to 0  */
	twi_drv_used = <0>;
	/* twi-supply = <&reg_dcdc1>; */
	twi_pkt_interval = <0>;
	rproc-name = "e907_rproc@0";
	no_suspend = <1>;
	status = "okay";
};

&twi2 {
	clock-frequency = <400000>;
	pinctrl-0 = <&twi2_pins_a>;
	pinctrl-1 = <&twi2_pins_b>;
	pinctrl-names = "default", "sleep";
	/* For stability and backwards compatibility, we recommend setting ‘twi_drv_used’ to 0  */
	twi_drv_used = <0>;
	/* twi-supply = <&reg_dcdc1>; */
	twi_pkt_interval = <0>;
	status = "disabled";
};

&twi3 {
	clock-frequency = <400000>;
	pinctrl-0 = <&twi3_pins_a>;
	pinctrl-1 = <&twi3_pins_b>;
	pinctrl-names = "default", "sleep";
	/* For stability and backwards compatibility, we recommend setting ‘twi_drv_used’ to 0  */
	twi_drv_used = <0>;
	/* twi-supply = <&reg_aldo1>; */
	twi_pkt_interval = <0>;
	status = "disabled";
};

&twi4 {
	clock-frequency = <400000>;
	pinctrl-0 = <&twi4_pins_a>;
	pinctrl-1 = <&twi4_pins_b>;
	pinctrl-names = "default", "sleep";
	/* For stability and backwards compatibility, we recommend setting ‘twi_drv_used’ to 0  */
	twi_drv_used = <0>;
	/* twi-supply = <&reg_aldo1>; */
	twi_pkt_interval = <0>;
	no_suspend = <1>;
	status = "disabled";
};


/* audio dirver module -> audio codec */
&codec {
	/* external-avcc; */
	/* avcc-supply	= <&reg_aldo1>; */
	avcc-vol	= <1800000>;	/* uv */
	lineout-vol	= <31>;
	mic1gain	= <31>;
	mic2gain	= <31>;
	adcdelaytime	= <0>;
	/* lineout-single; */
	/* mic1-single; */
	/* mic2-single; */
	pa-pin-max	= <1>;		/* set pa */
	pa-pin-0	= <&pio PE 11 1 1 1 0>;
	pa-pin-level-0	= <1>;
	pa-pin-msleep-0	= <0>;
	tx-hub-en;
	rx-sync-en;
	status		= "okay";
};

&codec_plat {
	status		= "okay";
};

&codec_mach {
	status		= "okay";
	soundcard-mach,cpu {
		sound-dai = <&codec_plat>;
	};
	soundcard-mach,codec {
		sound-dai = <&codec>;
	};
};

/* audio dirver module -> DMIC */
&dmic_plat {
	rx-chmap	= <0x76543210>;
	data-vol	= <0xB0>;
	rxdelaytime	= <0>;
	pinctrl-used;
	pinctrl-names	= "default","sleep";
	pinctrl-0	= <&dmic_pins_a>;
	pinctrl-1	= <&dmic_pins_b>;
	rx-sync-en;
	status		= "disabled";
};

&dmic_mach {
	status		= "disabled";
	soundcard-mach,cpu {
		sound-dai = <&dmic_plat>;
		soundcard-mach,pll-fs	= <1>; /* pll freq = 24.576M or 22.5792M * pll-fs */
	};
	soundcard-mach,codec {
	};
};

/* audio dirver module -> I2S/PCM */
&daudio0_plat {
	tdm-num		= <0>;
	tx-pin		= <0>;
	rx-pin		= <0>;
	/* pinctrl-used; */
	/* pinctrl-names= "default","sleep"; */
	/* pinctrl-0	= <&daudio0_pins_a>; */
	/* pinctrl-1	= <&daudio0_pins_b>; */
	tx-hub-en;
	rx-sync-en;
	status		= "okay";
};

&daudio0_mach {
	soundcard-mach,format		= "i2s";
	soundcard-mach,frame-master	= <&daudio0_cpu>;
	soundcard-mach,bitclock-master	= <&daudio0_cpu>;
	/* soundcard-mach,frame-inversion; */
	/* soundcard-mach,bitclock-inversion; */
	soundcard-mach,slot-num		= <2>;
	soundcard-mach,slot-width	= <32>;
	status		= "okay";
	daudio0_cpu: soundcard-mach,cpu {
		sound-dai = <&daudio0_plat>;
		soundcard-mach,pll-fs	= <1>; /* pll freq = 24.576M or 22.5792M * pll-fs */
		soundcard-mach,mclk-fs	= <0>; /* mclk freq = pcm rate * mclk-fs */
	};
	daudio0_codec: soundcard-mach,codec {
	};
};

&daudio1_plat {
	tdm-num		= <1>;
	tx-pin		= <0>;
	rx-pin		= <0>;
	/* pinctrl-used; */
	/* pinctrl-names= "default","sleep"; */
	/* pinctrl-0	= <&daudio1_pins_a>; */
	/* pinctrl-1	= <&daudio1_pins_b>; */
	tx-hub-en;
	rx-sync-en;
	status		= "disabled";
};

&daudio1_mach {
	soundcard-mach,format		= "i2s";
	soundcard-mach,frame-master	= <&daudio1_cpu>;
	soundcard-mach,bitclock-master	= <&daudio1_cpu>;
	/* soundcard-mach,frame-inversion; */
	/* soundcard-mach,bitclock-inversion; */
	soundcard-mach,slot-num		= <2>;
	soundcard-mach,slot-width	= <32>;
	status		= "disabled";
	daudio1_cpu: soundcard-mach,cpu {
		sound-dai = <&daudio1_plat>;
		soundcard-mach,pll-fs	= <1>; /* pll freq = 24.576M or 22.5792M * pll-fs */
		soundcard-mach,mclk-fs	= <0>; /* mclk freq = pcm rate * mclk-fs */
	};
	daudio1_codec: soundcard-mach,codec {
	};
};
/* audio dirver module -> END */

&usbc0 {
	device_type = "usbc0";
	usb_port_type = <0x2>;
	usb_detect_type = <0x1>;
	usb_detect_mode = <0x0>;
	/*usb_id_gpio     = <&pio PH 14 0 1 0xffffffff 0xffffffff>;*/
	/*usb_det_vbus_gpio   = <&pio PH 3 0 1 0xffffffff 0xffffffff>;*/
	usb_det_vbus_gpio = "axp_ctrl";
	det_vbus_supply = <&gpio_charger>;
	usb_regulator_io = "nocare";
	usb_wakeup_suspend = <0x0>;
	usb_luns = <0x3>;
	usb_serial_unique = <0x0>;
	usb_serial_number = "20080411";
	status = "okay";
};

&udc {
	det_vbus_supply = <&gpio_charger>;
	status = "okay";
};

&ehci0 {
	drvvbus-supply = <&reg_usb_vbus>;
	status = "okay";
};

&ohci0 {
	drvvbus-supply = <&reg_usb_vbus>;
	status = "okay";
};

&pwm4 {
	pinctrl-names = "active", "sleep";
	pinctrl-0 = <&pwm4_pin_a>;
	pinctrl-1 = <&pwm4_pin_b>;
	status = "disabled";
};

&pwm6 {
	pinctrl-names = "active", "sleep";
	pinctrl-0 = <&pwm6_pin_a>;
	pinctrl-1 = <&pwm6_pin_b>;
	status = "disabled";
};

&pwm9 {
	pinctrl-names = "active", "sleep";
	pinctrl-0 = <&pwm9_pin_a>;
	pinctrl-1 = <&pwm9_pin_b>;
	status = "disabled";
};

&gpadc {
	channel_num = <1>;
	channel_select = <0x01>;
	channel_data_select = <0>;
	channel_compare_select = <0x01>;
	/*channel_cld_select = <0x01>;*/
	channel_chd_select = <1>;
	/*channel0_compare_lowdata = <1700000>;*/
	channel0_compare_higdata = <0>;
	/*channel1_compare_lowdata = <460000>;*/
	/*channel1_compare_higdata = <1200000>;*/
	/*key_cnt = <5>;*/
	/*key0_vol = <210>;*/
	/*key0_val = <115>;*/
	/*key1_vol = <410>;*/
	/*key1_val = <114>;*/
	/*key2_vol = <590>;*/
	/*key2_val = <139>;*/
	/*key3_vol = <750>;*/
	/*key3_val = <28>;*/
	/*key4_vol = <880>;*/
	/*key4_val = <102>;*/
	status = "disabled";
};

&wiegand {
	protocol-type		= <0>;		/* select protocol-type; 0:26bit, 1:34bit */
	signal-duration		= <110>;	/* duty cycle, range is determined by clock_div */
	signal-period		= <1178>;	/* cycle length, range is determined by clock_div */
	high-parity-polar	= <0x01>;	/* select high parity bit polarity 1:odd parity; 0:even parity */
	low-parity-polar	= <0x00>;	/* select low parity bit polarity 1:odd parity; 0:even parity */
	data-polar		= <0x01>;	/* select the bit polarity 0:normal; 1:inverse */
	clock-div		= <0x18>;	/* set the clock division ratio, range: 0-48 */
	pinctrl-names = "default", "sleep";
	pinctrl-0 = <&wiegand_pins_a>;
	pinctrl-1 = <&wiegand_pins_b>;
	status = "disabled";
};

&gmac0{
	phy-mode = "rmii";
	use_ephy25m = <1>;
	pinctrl-0 = <&gmac0_pins_a>;
	pinctrl-1 = <&gmac0_pins_b>;
	pinctrl-names = "default", "sleep";
	tx-delay = <7>;
	rx-delay = <31>;
	status = "disabled";
};

&sdc2 {
	non-removable;
	bus-width = <8>;
	mmc-ddr-1_8v;
	mmc-hs200-1_8v;
	mmc-hs400-1_8v;
	no-sdio;
	no-sd;
	ctl-spec-caps = <0x308>;
	cap-mmc-highspeed;
	sunxi-power-save-mode;
	sunxi-dis-signal-vol-sw;
	max-frequency = <100000000>;
	/* vmmc-supply = <&reg_dcdc1>; */
	/*emmc io vol 3.3v*/
	/* vqmmc-supply = <&reg_bldo1>; */
	/*emmc io vol 1.8v*/
	/*vqmmc-supply = <&reg_eldo1>;*/
	status = "disabled";
};

&sdc0 {
	bus-width = <4>;
	cd-gpios = <&pio PF 6 6 1 3 0xffffffff>;
	/*non-removable;*/
	/*broken-cd;*/
	/*cd-inverted*/
	/*data3-detect;*/
	card-pwr-gpios = <&pio PH 0 1 1 2 0xffffffff>;
	cd-used-24M;
	cap-sd-highspeed;
	sd-uhs-sdr50;
	sd-uhs-ddr50;
	sd-uhs-sdr104;
	no-sdio;
	no-mmc;
	sunxi-signal-vol-sw-without-pmu;
	sunxi-power-save-mode;
	/*sunxi-dis-signal-vol-sw;*/
	max-frequency = <150000000>;
	ctl-spec-caps = <0x408>;
	/* vmmc-supply = <&reg_dcdc1>; */
	/* vqmmc33sw-supply = <&reg_dcdc1>; */
	/* vdmmc33sw-supply = <&reg_dcdc1>; */
	/* vqmmc18sw-supply = <&reg_bldo1>; */
	/* vdmmc18sw-supply = <&reg_bldo1>; */
	status = "okay";
};

&sdc1 {
	bus-width = <4>;
	no-mmc;
	no-sd;
	cap-sd-highspeed;
	/*sd-uhs-sdr12*/
	/*sd-uhs-sdr25*/
	/*sd-uhs-sdr50;*/
	/*sd-uhs-ddr50;*/
	/*sd-uhs-sdr104*/
	/*sunxi-power-save-mode;*/
	sunxi-dis-signal-vol-sw;
	cap-sdio-irq;
	keep-power-in-suspend;
	ignore-pm-notify;
	max-frequency = <50000000>;
	ctl-spec-caps = <0x8>;
	status = "disabled";
};

&disp {
	disp_init_enable         = <1>;
	disp_mode                = <0>;

	screen0_output_type      = <1>;
	screen0_output_mode      = <4>;

	screen1_output_type      = <3>;
	screen1_output_mode      = <10>;

	screen1_output_format    = <0>;
	screen1_output_bits      = <0>;
	screen1_output_eotf      = <4>;
	screen1_output_cs        = <257>;
	screen1_output_range     = <2>;
	screen1_output_scan      = <0>;
	screen1_output_aspect_ratio = <8>;

	dev0_output_type         = <1>;
	dev0_output_mode         = <4>;
	dev0_screen_id           = <0>;
	dev0_do_hpd              = <0>;

	dev1_output_type         = <4>;
	dev1_output_mode         = <10>;
	dev1_screen_id           = <1>;
	dev1_do_hpd              = <1>;

	def_output_dev           = <0>;

	fb0_format               = <0>;
	fb0_width                = <0>;
	fb0_height               = <0>;

	fb1_format               = <0>;
	fb1_width                = <0>;
	fb1_height               = <0>;
	chn_cfg_mode             = <1>;

	disp_para_zone           = <1>;
	status			 = "disabled";
};

&dsi4lane_pins_a {
	allwinner,pins = "PD1", "PD2", "PD3", "PD4", "PD5", "PD6";
	allwinner,pname = "PD1", "PD2", "PD3", "PD4", "PD5", "PD6";
};

&dsi4lane_pins_b {
	allwinner,pins = "PD1", "PD2", "PD3", "PD4", "PD5", "PD6";
	allwinner,pname = "PD1", "PD2", "PD3", "PD4", "PD5", "PD6";
};

&lcd0 {
	base_config_start   = <1>;
	lcd_used            = <1>;

	lcd_driver_name     = "t050k589";

	lcd_bl_0_percent    = <0>;
	lcd_bl_40_percent   = <23>;
	lcd_bl_100_percent  = <100>;
	lcd_backlight       = <150>;

	lcd_if              = <4>;
	lcd_x               = <720>;
	lcd_y               = <1280>;
	lcd_width           = <62>;
	lcd_height          = <110>;
	lcd_dclk_freq       = <60>;

	lcd_pwm_used        = <1>;
	lcd_pwm_ch          = <6>;
	lcd_pwm_freq        = <50000>;
	lcd_pwm_pol         = <1>;
	lcd_pwm_max_limit   = <255>;

	lcd_hbp             = <32>;
	lcd_ht              = <780>;
	lcd_hspw            = <8>;
	lcd_vbp             = <12>;
	lcd_vt              = <1304>;
	lcd_vspw            = <4>;

	lcd_dsi_if          = <0>;
	lcd_dsi_lane        = <2>;
	lcd_dsi_format      = <0>;
	lcd_dsi_te          = <0>;
	lcd_dsi_eotp        = <0>;

	lcd_frm             = <0>;
	lcd_io_phase        = <0x0000>;
	lcd_hv_clk_phase    = <0>;
	lcd_hv_sync_polarity= <0>;
	lcd_gamma_en        = <0>;
	lcd_bright_curve_en = <0>;
	lcd_cmap_en         = <0>;

	lcdgamma4iep        = <22>;

	lcd_gpio_0          = <&pio PD 19 1 0 3 1>;
	lcd_gpio_1          = <&pio PE 1 1 0 3 1>;
	pinctrl-0           = <&dsi4lane_pins_a>;
	pinctrl-1           = <&dsi4lane_pins_b>;
	base_config_end     = <1>;
	status		    = "disabled";
};

&g2d {
	status = "okay";
};

&e907_rproc {
	memory-region = <&e907_dram>, <&vdev0buffer>,
			<&vdev0vring0>, <&vdev0vring1>, <&rv_share_irq_table>;
	memory-mappings =
		/* DA 	         len         PA */
		/* DDR for e907  */
		< 0x43c00000 0x00400000 0x43c00000 >;

	// iommus = <&mmu_aw 5 1>;
	fw-region = <&e907_fw>;
	firmware-name = "melis-elf";
	share-irq = "e907";
	status = "okay";
};

&mmu_aw {
	/*
	 * if iommu is enabled in boot0, the 'l1_table' and
	 *  'hw-early-init' need to be configured
	 */
	iova-base = <0x60000000>;
	l1_table = <&iommu_l1_pagetable>;
	hw-early-init;
	status = "okay";
};
